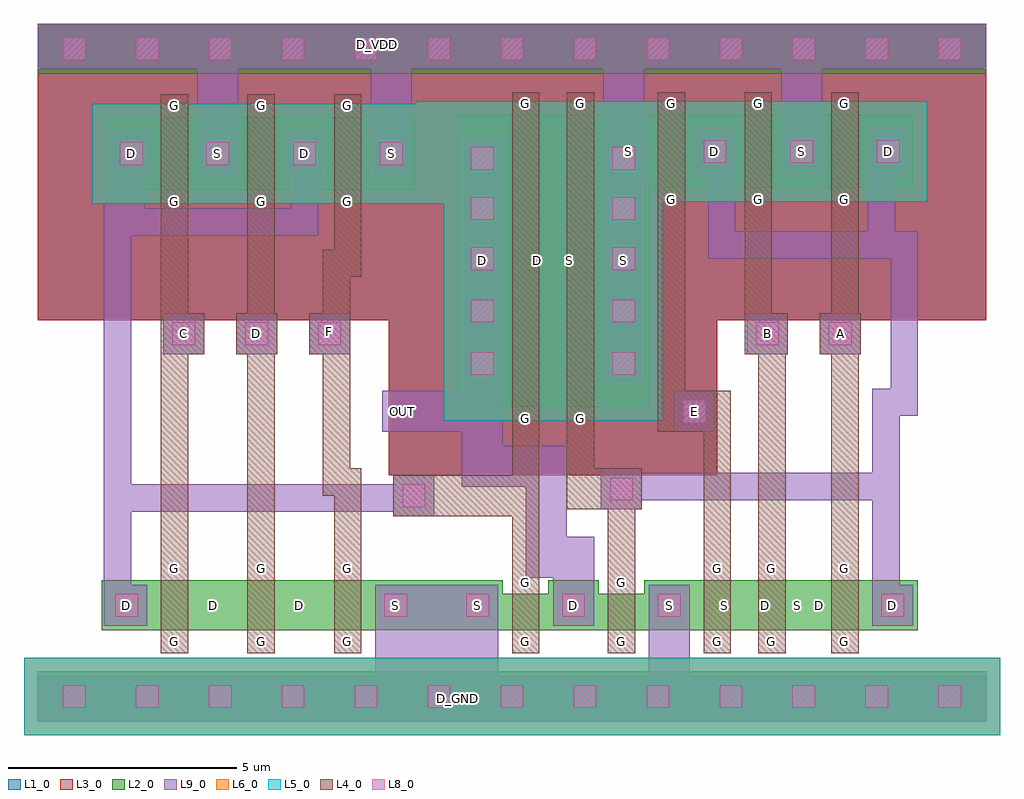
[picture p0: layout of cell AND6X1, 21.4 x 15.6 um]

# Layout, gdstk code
import gdstk
lib = gdstk.Library(unit=1e-6, precision=1e-09)
def R(c, l, rs):  # rectangles x0, y0, x1, y1
    for r in rs: c.add(gdstk.rectangle(r[:2], r[2:], *l))
def A(c, l, x, y, w, h, nx, ny, dx, dy):  # array of equal rectangles
    R(c, l, [(x+i*dx, y+j*dy, x+i*dx+w, y+j*dy+h) for i in range(nx) for j in range(ny)])
def P(c, l, *ps):  # polygons
    for p in ps: c.add(gdstk.Polygon(p, *l))
L1_0 = (1, 0)
L2_0 = (2, 0)
L3_0 = (3, 0)
L4_0 = (4, 0)
L5_0 = (5, 0)
L6_0 = (6, 0)
L8_0 = (8, 0)
L9_0 = (9, 0)

and6x1 = lib.new_cell('AND6X1')
A(and6x1, L1_0, 0, 8.8, 1.6, 6.5, 13, 1, 1.6, 0)
A(and6x1, L1_0, 0, 10.15, 6, 4.6, 3, 1, 1.9, 0)
A(and6x1, L1_0, 10.9, 10.2, 6, 4.6, 3, 1, 1.9, 0)
R(and6x1, L1_0, [(7.7,5.4,13.7,14.8), (8.9,5.4,14.9,14.8)])
A(and6x1, L2_0, 0, 0, 1.6, 1.1, 13, 2, 1.6, 14.2)
A(and6x1, L2_0, 2.5, 2, 1, 1.1, 3, 1, 1.9, 0)
A(and6x1, L2_0, 2.6, 11.65, 0.8, 1.6, 3, 1, 1.9, 0)
A(and6x1, L2_0, 13.5, 11.7, 0.8, 1.6, 3, 1, 1.9, 0)
R(and6x1, L2_0, [(1.4,2,2.5,3.1), (3.3,2,4.4,3.1), (3.5,2,4.6,3.1), (5.2,2,6.3,3.1), (5.4,2,6.5,3.1), (7.3,2,8.4,3.1), (8.4,2,9.1,3.1), (9.1,2,10.2,3.1), (10.2,2,11.2,2.8), (11.2,2,12.3,3.1), (11.2,2,12.3,3.1), (12.3,2,13.3,2.8), (13.3,2,14.4,3.1), (13.3,2,14.4,3.1), (14.4,2,15.4,3.1), (14.5,2,15.6,3.1), (15.4,2,16.5,3.1), (15.6,2,16.6,3.1), (16.1,2,17.2,3.1), (16.6,2,17.7,3.1), (17.2,2,18.2,3.1), (18.2,2,19.3,3.1), (9.2,6.9,10.3,13.3), (10.3,6.9,11.1,13.3), (10.4,6.9,11.5,13.3), (11.1,6.9,12.2,13.3), (11.5,6.9,12.3,13.3), (12.3,6.9,13.4,13.3), (1.5,11.65,2.6,13.25), (3.4,11.65,4.5,13.25), (3.4,11.65,4.5,13.25), (5.3,11.65,6.4,13.25), (5.3,11.65,6.4,13.25), (7.2,11.65,8.3,13.25), (12.4,11.7,13.5,13.3), (14.3,11.7,15.4,13.3), (14.3,11.7,15.4,13.3), (16.2,11.7,17.3,13.3), (16.2,11.7,17.3,13.3), (18.1,11.7,19.2,13.3)])
A(and6x1, L3_0, 0, 8.8, 1.6, 6.5, 13, 1, 1.6, 0)
A(and6x1, L3_0, 0, 10.15, 6, 4.6, 3, 1, 1.9, 0)
A(and6x1, L3_0, 10.9, 10.2, 6, 4.6, 3, 1, 1.9, 0)
R(and6x1, L3_0, [(7.7,5.4,13.7,14.8), (8.9,5.4,14.9,14.8)])
A(and6x1, L4_0, 2.7, 1.5, 0.6, 2.1, 3, 1, 1.9, 0)
A(and6x1, L4_0, 2.7, 1.5, 0.6, 0.5, 3, 2, 1.9, 1.6)
A(and6x1, L4_0, 10.4, 1.5, 0.6, 0.5, 3, 1, 2.1, 0)
A(and6x1, L4_0, 2.75, 8.05, 0.9, 0.9, 3, 1, 1.6, 0)
A(and6x1, L4_0, 2.7, 11.15, 0.6, 0.5, 3, 2, 1.9, 2.1)
A(and6x1, L4_0, 2.7, 11.15, 0.6, 2.6, 3, 1, 1.9, 0)
A(and6x1, L4_0, 13.6, 11.2, 0.6, 0.5, 3, 2, 1.9, 2.1)
A(and6x1, L4_0, 13.6, 11.2, 0.6, 2.6, 3, 1, 1.9, 0)
R(and6x1, L4_0, [(2.7,1.5,3.3,13.75), (4.6,1.5,5.2,13.75), (10.4,1.5,11,3.3), (12.5,1.5,13.1,3.3), (14.6,1.5,15.2,3.6), (15.8,1.5,16.4,3.6), (15.8,1.5,16.4,2), (17.4,1.5,18,3.6), (17.4,1.5,18,2), (10.4,2.8,11,3.3), (12.5,2.8,13.1,3.3), (14.6,3.1,15.2,3.6), (15.8,3.1,16.4,3.6), (17.4,3.1,18,3.6), (10.4,3.3,11,6.4), (12.5,3.3,13.1,4.75), (14.6,3.6,15.2,7.25), (15.8,3.6,16.4,8.95), (17.4,3.6,18,11.2), (7.8,4.5,8.7,5.4), (8.7,4.5,10.4,5.4), (12.35,4.65,13.25,5.55), (13.6,6.35,14.2,11.2), (13.95,6.35,14.85,7.25), (10.4,6.4,11,6.9), (10.4,6.4,11,13.8), (11.6,6.4,12.2,6.9), (11.6,6.4,12.2,13.8), (15.5,8.05,16.1,11.2), (15.55,8.05,16.45,8.95), (17.15,8.05,18.05,8.95), (10.4,13.3,11,13.8), (11.6,13.3,12.2,13.8)])
P(and6x1, L4_0, [(6.25,4.95),(6.5,4.95),(6.5,1.5),(7.1,1.5),(7.1,5.55),(6.85,5.55),(6.85,9.75),(7.1,9.75),(7.1,13.75),(6.5,13.75),(6.5,10.35),(6.25,10.35)],
  [(11.6,4.65),(12.35,4.65),(12.35,5.55),(12.2,5.55),(12.2,6.4),(11.6,6.4)])
A(and6x1, L5_0, 1.6, -0.3, 1.6, 1.7, 11, 1, 1.6, 0)
A(and6x1, L5_0, 1.2, 11.35, 3.6, 2.2, 3, 1, 1.9, 0)
A(and6x1, L5_0, 12.1, 11.4, 3.6, 2.2, 3, 1, 1.9, 0)
R(and6x1, L5_0, [(-0.3,-0.3,1.6,1.4), (19.2,-0.3,21.1,1.4), (8.9,6.6,12.5,13.6), (10.1,6.6,13.7,13.6), (8.6,11.35,9.3,13.6), (8.3,11.4,8.8,13.6)])
A(and6x1, L6_0, 1.6, -0.3, 1.6, 1.7, 11, 1, 1.6, 0)
A(and6x1, L6_0, 1.2, 11.35, 3.6, 2.2, 3, 1, 1.9, 0)
A(and6x1, L6_0, 12.1, 11.4, 3.6, 2.2, 3, 1, 1.9, 0)
R(and6x1, L6_0, [(-0.3,-0.3,1.6,1.4), (19.2,-0.3,21.1,1.4), (8.9,6.6,12.5,13.6), (10.1,6.6,13.7,13.6), (8.6,11.35,9.3,13.6), (8.3,11.4,8.8,13.6)])
A(and6x1, L8_0, 0.55, 0.3, 0.5, 0.5, 13, 2, 1.6, 14.2)
A(and6x1, L8_0, 9.5, 7.6, 0.5, 0.5, 1, 3, 0, 1.15)
A(and6x1, L8_0, 12.6, 7.6, 0.5, 0.5, 1, 3, 0, 1.15)
A(and6x1, L8_0, 2.95, 8.25, 0.5, 0.5, 3, 1, 1.6, 0)
R(and6x1, L8_0, [(1.7,2.3,2.2,2.8), (7.6,2.3,8.1,2.8), (9.4,2.3,9.9,2.8), (11.5,2.3,12,2.8), (11.5,2.3,12,2.8), (13.6,2.3,14.1,2.8), (13.6,2.3,14.1,2.8), (18.5,2.3,19,2.8), (8,4.7,8.5,5.2), (12.55,4.85,13.05,5.35), (14.15,6.55,14.65,7.05), (15.75,8.25,16.25,8.75), (17.35,8.25,17.85,8.75), (9.5,11,10,11.5), (12.6,11,13.1,11.5), (9.5,12.1,10,12.6), (12.6,12.1,13.1,12.6), (1.8,12.2,2.3,12.7), (3.7,12.2,4.2,12.7), (3.7,12.2,4.2,12.7), (5.6,12.2,6.1,12.7), (5.6,12.2,6.1,12.7), (7.5,12.2,8,12.7), (14.6,12.25,15.1,12.75), (14.6,12.25,15.1,12.75), (16.5,12.25,17,12.75), (16.5,12.25,17,12.75), (18.4,12.25,18.9,12.75)])
A(and6x1, L9_0, 0, 0, 1.6, 1, 13, 2, 1.6, 14.3)
A(and6x1, L9_0, 2.75, 8.05, 0.9, 0.9, 3, 1, 1.6, 0)
R(and6x1, L9_0, [(13.4,0.1,14.3,3), (8.9,0.2,9.5,0.8), (7.4,1,10.1,3), (1.45,2.1,2.05,12.95), (1.5,2.1,2.4,3), (7.4,2.1,8.3,3), (9.2,2.1,10.1,3), (11.3,2.1,12.2,3), (11.3,2.1,12.2,3), (13.4,2.1,14.3,3), (13.4,2.1,14.3,3), (18.3,2.1,19.2,3), (18.3,2.4,18.9,5.45), (7.8,4.5,8.7,5.4), (1.45,4.6,8.4,5.2), (12.35,4.65,13.25,5.55), (12.65,4.85,18.9,5.45), (7.55,6.35,8.45,7.25), (7.55,6.35,10.2,7.25), (13.95,6.35,14.85,7.25), (7.7,6.5,8.3,7.1), (14.1,6.5,14.7,7.1), (9.3,7.4,10.2,12.8), (12.4,7.4,13.3,12.8), (15.55,8.05,16.45,8.95), (17.15,8.05,18.05,8.95), (2.9,8.2,3.5,8.8), (4.5,8.2,5.1,8.8), (15.7,8.2,16.3,8.8), (17.3,8.2,17.9,8.8), (6.1,8.25,6.7,8.85), (18.2,10.15,18.8,12.6), (1.6,11.95,2.5,12.95), (3.5,11.95,4.4,12.95), (3.5,11.95,4.4,12.95), (5.4,11.95,6.3,12.95), (5.4,11.95,6.3,12.95), (7.3,11.95,8.2,12.95), (14.4,12,15.3,13), (14.4,12,15.3,13), (16.3,12,17.2,13), (16.3,12,17.2,13), (18.2,12,19.1,13), (3.5,12.05,4.4,15.2), (16.3,12.1,17.2,15.2), (7.15,14.55,7.75,15.15)])
P(and6x1, L9_0, [(1.75,10.65),(6.15,10.65),(6.15,12.7),(5.55,12.7),(5.55,11.25),(2.35,11.25),(2.35,12.75),(1.75,12.75)],
  [(11.9,14.3),(12.4,14.3),(12.4,11.9),(13.3,11.9),(13.3,15.2),(11.9,15.2)],
  [(7.3,12.05),(8.2,12.05),(8.2,14.3),(8.9,14.3),(8.9,15.2),(7.3,15.2)],
  [(9.3,5.15),(10.7,5.15),(10.7,3.15),(11.3,3.15),(11.3,2.1),(12.2,2.1),(12.2,4.05),(11.6,4.05),(11.6,6.05),(10.2,6.05),(10.2,8.3),(9.3,8.3)],
  [(14.7,10.15),(18.8,10.15),(18.8,10.75),(15.3,10.75),(15.3,12.6),(14.7,12.6)],
  [(18.2,10.15),(18.7,10.15),(18.7,7.3),(18.3,7.3),(18.3,4.85),(18.9,4.85),(18.9,6.7),(19.3,6.7),(19.3,10.75),(18.2,10.75)])
and6x1.add(gdstk.Label('G', (17.7,1.752), layer=4, texttype=0))
and6x1.add(gdstk.Label('G', (17.7,3.352), layer=4, texttype=0))
and6x1.add(gdstk.Label('S', (16.649,2.551), layer=2, texttype=0))
and6x1.add(gdstk.Label('D', (18.749,2.551), layer=9, texttype=0))
and6x1.add(gdstk.Label('D', (17.149,2.551), layer=2, texttype=0))
and6x1.add(gdstk.Label('G', (16.1,1.752), layer=4, texttype=0))
and6x1.add(gdstk.Label('G', (16.1,3.352), layer=4, texttype=0))
and6x1.add(gdstk.Label('S', (15.049,2.551), layer=2, texttype=0))
and6x1.add(gdstk.Label('D', (15.949,2.551), layer=2, texttype=0))
and6x1.add(gdstk.Label('G', (14.9,1.752), layer=4, texttype=0))
and6x1.add(gdstk.Label('G', (14.9,3.352), layer=4, texttype=0))
and6x1.add(gdstk.Label('S', (13.849,2.551), layer=9, texttype=0))
and6x1.add(gdstk.Label('G', (13.9,11.452), layer=4, texttype=0))
and6x1.add(gdstk.Label('G', (13.9,13.552), layer=4, texttype=0))
and6x1.add(gdstk.Label('S', (12.949,12.501), layer=2, texttype=0))
and6x1.add(gdstk.Label('D', (14.849,12.501), layer=9, texttype=0))
and6x1.add(gdstk.Label('G', (17.7,11.452), layer=4, texttype=0))
and6x1.add(gdstk.Label('G', (17.7,13.552), layer=4, texttype=0))
and6x1.add(gdstk.Label('S', (16.749,12.501), layer=9, texttype=0))
and6x1.add(gdstk.Label('D', (18.649,12.501), layer=9, texttype=0))
and6x1.add(gdstk.Label('G', (15.8,11.452), layer=4, texttype=0))
and6x1.add(gdstk.Label('G', (15.8,13.552), layer=4, texttype=0))
and6x1.add(gdstk.Label('S', (16.751,12.501), layer=9, texttype=0))
and6x1.add(gdstk.Label('D', (14.851,12.501), layer=9, texttype=0))
and6x1.add(gdstk.Label('G', (12.8,1.752), layer=4, texttype=0))
and6x1.add(gdstk.Label('G', (12.8,3.052), layer=4, texttype=0))
and6x1.add(gdstk.Label('S', (13.851,2.551), layer=9, texttype=0))
and6x1.add(gdstk.Label('D', (11.751,2.551), layer=9, texttype=0))
and6x1.add(gdstk.Label('G', (10.7,1.752), layer=4, texttype=0))
and6x1.add(gdstk.Label('G', (10.7,3.052), layer=4, texttype=0))
and6x1.add(gdstk.Label('S', (9.649,2.551), layer=9, texttype=0))
and6x1.add(gdstk.Label('D', (11.749,2.551), layer=9, texttype=0))
and6x1.add(gdstk.Label('G', (10.7,6.652), layer=4, texttype=0))
and6x1.add(gdstk.Label('G', (10.7,13.552), layer=4, texttype=0))
and6x1.add(gdstk.Label('S', (11.651,10.101), layer=2, texttype=0))
and6x1.add(gdstk.Label('D', (9.751,10.101), layer=9, texttype=0))
and6x1.add(gdstk.Label('G', (11.9,6.652), layer=4, texttype=0))
and6x1.add(gdstk.Label('G', (11.9,13.552), layer=4, texttype=0))
and6x1.add(gdstk.Label('S', (12.851,10.101), layer=9, texttype=0))
and6x1.add(gdstk.Label('D', (10.951,10.101), layer=2, texttype=0))
and6x1.add(gdstk.Label('D', (5.751,2.551), layer=2, texttype=0))
and6x1.add(gdstk.Label('G', (6.8,1.752), layer=4, texttype=0))
and6x1.add(gdstk.Label('G', (6.8,3.352), layer=4, texttype=0))
and6x1.add(gdstk.Label('S', (7.851,2.551), layer=9, texttype=0))
and6x1.add(gdstk.Label('D', (3.851,2.551), layer=2, texttype=0))
and6x1.add(gdstk.Label('G', (4.9,1.752), layer=4, texttype=0))
and6x1.add(gdstk.Label('G', (4.9,3.352), layer=4, texttype=0))
and6x1.add(gdstk.Label('S', (5.951,2.551), layer=2, texttype=0))
and6x1.add(gdstk.Label('G', (3,1.752), layer=4, texttype=0))
and6x1.add(gdstk.Label('G', (3,3.352), layer=4, texttype=0))
and6x1.add(gdstk.Label('S', (4.051,2.551), layer=2, texttype=0))
and6x1.add(gdstk.Label('D', (1.951,2.551), layer=9, texttype=0))
and6x1.add(gdstk.Label('G', (6.8,11.402), layer=4, texttype=0))
and6x1.add(gdstk.Label('G', (6.8,13.502), layer=4, texttype=0))
and6x1.add(gdstk.Label('S', (7.751,12.451), layer=9, texttype=0))
and6x1.add(gdstk.Label('D', (5.851,12.451), layer=9, texttype=0))
and6x1.add(gdstk.Label('G', (4.9,13.498), layer=4, texttype=0))
and6x1.add(gdstk.Label('G', (4.9,11.398), layer=4, texttype=0))
and6x1.add(gdstk.Label('S', (3.949,12.449), layer=9, texttype=0))
and6x1.add(gdstk.Label('D', (5.849,12.449), layer=9, texttype=0))
and6x1.add(gdstk.Label('G', (3,11.402), layer=4, texttype=0))
and6x1.add(gdstk.Label('G', (3,13.502), layer=4, texttype=0))
and6x1.add(gdstk.Label('S', (3.951,12.451), layer=9, texttype=0))
and6x1.add(gdstk.Label('D', (2.051,12.451), layer=9, texttype=0))
and6x1.add(gdstk.Label('D_GND', (9.2,0.5), layer=50, texttype=0))
and6x1.add(gdstk.Label('D_VDD', (7.45,14.85), layer=50, texttype=0))
and6x1.add(gdstk.Label('B', (16,8.5), layer=50, texttype=0))
and6x1.add(gdstk.Label('E', (14.4,6.8), layer=50, texttype=0))
and6x1.add(gdstk.Label('C', (3.2,8.5), layer=50, texttype=0))
and6x1.add(gdstk.Label('D', (4.8,8.5), layer=50, texttype=0))
and6x1.add(gdstk.Label('OUT', (8,6.8), layer=50, texttype=0))
and6x1.add(gdstk.Label('F', (6.4,8.55), layer=50, texttype=0))
and6x1.add(gdstk.Label('A', (17.6,8.5), layer=50, texttype=0))

lib.write_gds('AND6X1.gds')
